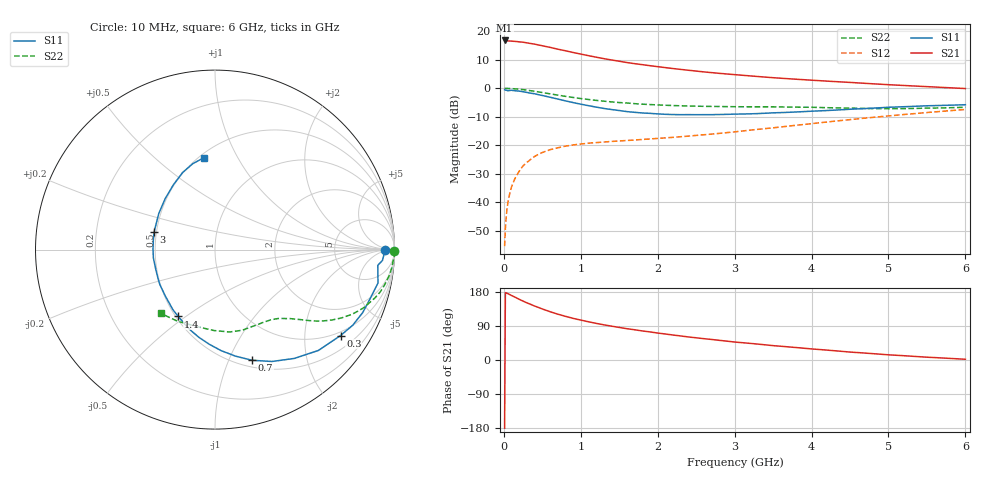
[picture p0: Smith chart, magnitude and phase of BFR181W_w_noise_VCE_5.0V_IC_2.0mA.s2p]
! Infineon Technologies  Discrete & RF Semiconductors
! BFR181W
! VCE =  5.0 V,  IC =  2.0 mA
! Common Emitter S-Parameters:  Jan 2017
# GHz  S  MA  R  50
!  f  S11  S21  S12  S22
! GHz  MAG  ANG  MAG  ANG  MAG  ANG  MAG  ANG
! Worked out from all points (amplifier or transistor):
!   77 points, 10 MHz to 6 GHz, reference 50 ohm
!   highest |S21| = 16.8 dB at 10 MHz (marker M1)
!   |S21| within 3 dB of that: start of sweep to 692.2 MHz
!   unconditionally stable (mu >= 1): 1.879 GHz to 3.955 GHz
!   at 130 MHz: K = 0.08, MSG = 24.5 dB, |S12| = -32.5 dB
!   at 2.2 GHz: K = 1.08, MAG = 10.4 dB, |S12| = -17.2 dB
!   at 6 GHz: K = 0.84, MSG = 3.7 dB, |S12| = -7.4 dB
!   lowest NFmin = 0.84 dB at 450 MHz
!   S11 on the Smith chart (normalised r, x): 10 MHz: 37, -4; 300 MHz: 0.88, -3.00; 700 MHz: 0.57, -1.22; 1.4 GHz: 0.51, -0.47; 3 GHz: 0.49, +0.11; 6 GHz: 0.53, +0.74
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0.01  0.9474 -0.3  6.932 -180.0  0.0017 95.7  1 -0.6
0.02  0.9349 -3.7  6.915 177.9  0.0035 92.4  1 -1.1
0.04  0.919 -4.9  6.847 176.2  0.0074 88.6  0.9996 -2.4
0.08  0.9194 -9.2  6.769 172.3  0.0149 84.9  0.992 -4.8
0.15  0.9057 -17.8  6.673 165.4  0.027 79.5  0.9799 -8.9
0.2  0.8947 -23.1  6.552 160.1  0.0352 75.9  0.9656 -11.7
0.3  0.8477 -34.4  6.292 150.8  0.0501 69.7  0.9301 -16.9
0.4  0.8047 -44.3  5.978 142.4  0.0639 64.6  0.8891 -21.4
0.5  0.7504 -53.9  5.597 134.7  0.075 60.1  0.8452 -25.2
0.6  0.6996 -63.0  5.243 127.5  0.0838 55.8  0.8021 -28.3
0.7  0.6502 -71.5  4.88 121.0  0.0905 52.8  0.7613 -31.0
0.9  0.5636 -86.6  4.264 109.9  0.1016 48.3  0.6926 -35.1
1.1  0.4973 -100.3  3.749 100.9  0.1092 46.0  0.6386 -38.0
1.4  0.4253 -118.8  3.149 89.3  0.117 44.3  0.5785 -41.8
1.8  0.3698 -142.0  2.607 76.7  0.1269 45.1  0.5283 -46.5
2.1  0.3504 -157.8  2.313 68.6  0.1353 47.2  0.5057 -50.3
2.4  0.3464 -172.4  2.079 60.8  0.1453 49.3  0.4904 -54.8
3  0.3533 163.7  1.743 47.4  0.1724 53.2  0.4765 -63.6
3.1  0.3547 160.3  1.699 45.7  0.1785 53.7  0.4754 -65.1
4.1  0.4027 131.6  1.366 27.7  0.2484 54.9  0.4619 -82.1
5.1  0.4708 111.0  1.142 12.5  0.3378 50.1  0.4405 -106.6
6  0.5163 96.7  0.993 1.9  0.4259 42.2  0.4664 -130.3
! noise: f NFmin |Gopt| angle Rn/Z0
0.45  0.84  0.56  18  0.32
0.9  0.9  0.51  33  0.3
1.9  1.35  0.31  81  0.23
2.4  1.58  0.27  95  0.25
